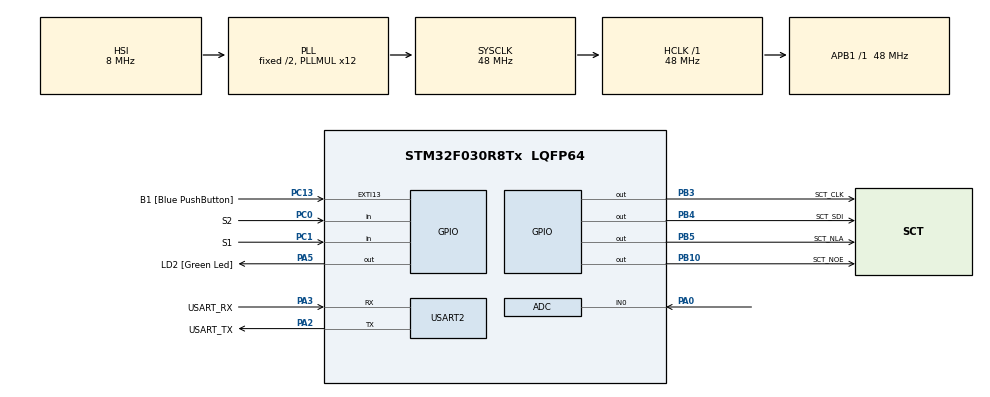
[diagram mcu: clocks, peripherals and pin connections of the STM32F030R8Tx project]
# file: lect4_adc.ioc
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ADC.ContinuousConvMode=ENABLE
ADC.Overrun=ADC_OVR_DATA_OVERWRITTEN
ADC.SamplingTime=ADC_SAMPLETIME_239CYCLES_5
Mcu.Family=STM32F0
Mcu.Name=STM32F030R8Tx
Mcu.Package=LQFP64
NVIC.ADC1_IRQn=true\:0\:0\:false\:false\:true\:true\:true\:true
PA0.Mode=IN0
PA0.Signal=ADC_IN0
PA13.GPIO_Label=TMS
PA13.Mode=Serial_Wire
PA13.Signal=SYS_SWDIO
PA14.GPIO_Label=TCK
PA14.Mode=Serial_Wire
PA14.Signal=SYS_SWCLK
PA2.GPIO_Label=USART_TX
PA2.GPIO_Mode=GPIO_MODE_AF_PP
PA2.GPIO_PuPd=GPIO_NOPULL
PA2.GPIO_Speed=GPIO_SPEED_FREQ_LOW
PA2.Mode=Asynchronous
PA2.Signal=USART2_TX
PA3.GPIO_Label=USART_RX
PA3.GPIO_Mode=GPIO_MODE_AF_PP
PA3.GPIO_PuPd=GPIO_NOPULL
PA3.GPIO_Speed=GPIO_SPEED_FREQ_LOW
PA3.Mode=Asynchronous
PA3.Signal=USART2_RX
PA5.GPIO_Label=LD2 [Green Led]
PA5.GPIO_Mode=GPIO_MODE_OUTPUT_PP
PA5.GPIO_PuPd=GPIO_NOPULL
PA5.GPIO_Speed=GPIO_SPEED_FREQ_LOW
PA5.Signal=GPIO_Output
PB10.GPIO_Label=SCT_NOE
PB10.Signal=GPIO_Output
PB3.GPIO_Label=SCT_CLK
PB3.Signal=GPIO_Output
PB4.GPIO_Label=SCT_SDI
PB4.Signal=GPIO_Output
PB5.GPIO_Label=SCT_NLA
PB5.Signal=GPIO_Output
PC0.GPIO_Label=S2
PC0.GPIO_PuPd=GPIO_PULLUP
PC0.Signal=GPIO_Input
PC1.GPIO_Label=S1
PC1.GPIO_PuPd=GPIO_PULLUP
PC1.Signal=GPIO_Input
PC13.GPIO_Label=B1 [Blue PushButton]
PC13.GPIO_ModeDefaultEXTI=GPIO_MODE_IT_FALLING
PC13.Signal=GPXTI13
PC14-OSC32_IN.Mode=LSE-External-Oscillator
PC14-OSC32_IN.Signal=RCC_OSC32_IN
PC15-OSC32_OUT.Mode=LSE-External-Oscillator
PC15-OSC32_OUT.Signal=RCC_OSC32_OUT
PF0-OSC_IN.Mode=HSE-External-Clock-Source
PF0-OSC_IN.Signal=RCC_OSC_IN
PF1-OSC_OUT.Signal=RCC_OSC_OUT
ProjectManager.HeapSize=0x200
ProjectManager.StackSize=0x400
ProjectManager.TargetToolchain=STM32CubeIDE
RCC.AHBFreq_Value=48000000
RCC.APB1Freq_Value=48000000
RCC.APB1TimFreq_Value=48000000
RCC.HCLKFreq_Value=48000000
RCC.PLLMUL=RCC_PLL_MUL12
RCC.SYSCLKFreq_VALUE=48000000
RCC.SYSCLKSource=RCC_SYSCLKSOURCE_PLLCLK
USART2.VirtualMode-Asynchronous=VM_ASYNC
VP_ADC_TempSens_Input.Mode=IN-TempSens
VP_ADC_Vref_Input.Mode=IN-Vrefint
board=NUCLEO-F030R8

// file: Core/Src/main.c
/* USER CODE BEGIN Header */
/**
 ******************************************************************************
 * @file           : main.c
 * @brief          : Main program body
 ******************************************************************************
 * @attention
 *
 * Copyright (c) 2024 STMicroelectronics.
 * All rights reserved.
 *
 * This software is licensed under terms that can be found in the LICENSE file
 * in the root directory of this software component.
 * If no LICENSE file comes with this software, it is provided AS-IS.
 *
 ******************************************************************************
 */
/* USER CODE END Header */
#include "main.h"

/* USER CODE BEGIN Includes */
#include "sct.h"
/* USER CODE END Includes */

/* USER CODE BEGIN PTD */
#define DELAY 1000 // delay 1 s na vychozi stav
/* USER CODE END PTD */

/* USER CODE BEGIN PD */
#define ADC_Q (12)

/* Temperature sensor calibration value address */
#define TEMP110_CAL_ADDR ((uint16_t*) ((uint32_t) 0x1FFFF7C2))
#define TEMP30_CAL_ADDR ((uint16_t*) ((uint32_t) 0x1FFFF7B8))
/* Internal voltage reference calibration value address */
#define VREFINT_CAL_ADDR ((uint16_t*) ((uint32_t) 0x1FFFF7BA))
/* USER CODE END PD */

ADC_HandleTypeDef hadc;

UART_HandleTypeDef huart2;

/* USER CODE BEGIN PV */
#define apply_Q(x) ((x)>6)

static volatile uint32_t raw_pot = 0;
static volatile uint32_t value_avg = 0;
static volatile uint32_t voltage = 0;
static volatile uint32_t temperature = 0;
static enum { SHOW_POT, SHOW_VOLT, SHOW_TEMP } state = SHOW_TEMP;

/* USER CODE END PV */

void SystemClock_Config(void);
static void MX_GPIO_Init(void);
static void MX_USART2_UART_Init(void);
static void MX_ADC_Init(void);

/* USER CODE BEGIN 0 */
static volatile uint32_t raw_temp = 0;
static volatile  uint32_t raw_volt = 0;
static volatile uint32_t avg_pot = 0;
void HAL_ADC_ConvCpltCallback(ADC_HandleTypeDef* hadc){

	static uint8_t channel = 0;
	//raw_pot = HAL_ADC_GetValue(hadc);
	if ( channel == 0){
		raw_pot = avg_pot >> ADC_Q;
		avg_pot -= raw_pot;
		avg_pot += HAL_ADC_GetValue(hadc);
	}
	if ( channel == 1){
		raw_temp = HAL_ADC_GetValue(hadc);

	}
	if ( channel == 2){
		raw_volt = HAL_ADC_GetValue(hadc);

	}

	if (__HAL_ADC_GET_FLAG(hadc, ADC_FLAG_EOS)) channel = 0;
	else channel++;

}

/* USER CODE END 0 */

int main(void)
{

	/* MCU Configuration--------------------------------------------------------*/

	/* Reset of all peripherals, Initializes the Flash interface and the Systick. */
	HAL_Init();

	/* USER CODE BEGIN Init */
	//  sct_init();
	/* USER CODE END Init */

	/* Configure the system clock */
	SystemClock_Config();

	/* Initialize all configured peripherals */
	MX_GPIO_Init();
	MX_USART2_UART_Init();
	MX_ADC_Init();
	/* USER CODE BEGIN 2 */
	HAL_ADCEx_Calibration_Start(&hadc);
	HAL_ADC_Start_IT(&hadc);

	sct_init();
	/* USER CODE END 2 */

	/* Infinite loop */
	/* USER CODE BEGIN WHILE */
	while (1)
	{

		// printf("Hodnota=%u", apply_Q(value_avg));

		uint8_t s1 = HAL_GPIO_ReadPin(S1_GPIO_Port, S1_Pin);
		uint8_t s2 = HAL_GPIO_ReadPin(S2_GPIO_Port, S2_Pin);
		static uint32_t time;

		if(s1 == 0){
			state = SHOW_TEMP;
			time = HAL_GetTick();
		}
		if(s2 == 0){
			state = SHOW_VOLT;
			time = HAL_GetTick();
		}
		if(HAL_GetTick() > (time + DELAY)){
			state = SHOW_POT;
		}

		//state = SHOW_POT;

		if (state == SHOW_POT){
			sct_value(raw_pot*500.9/4095,raw_pot*9/4095 );
		}
		if (state == SHOW_VOLT){
			voltage = 330 * (*VREFINT_CAL_ADDR) / raw_volt;
			sct_value(voltage,2 );
		}
		if (state == SHOW_TEMP){
			int32_t temperature = (raw_temp - (int32_t)(*TEMP30_CAL_ADDR));
			temperature = temperature * (int32_t)(110 - 30);
			temperature = temperature / (int32_t)(*TEMP110_CAL_ADDR - *TEMP30_CAL_ADDR);
			temperature = temperature + 30;
			sct_value(temperature,3 );
		}
		HAL_Delay(50);
		/* USER CODE END WHILE */

	}
}

void SystemClock_Config(void)
{
	RCC_OscInitTypeDef RCC_OscInitStruct = {0};
	RCC_ClkInitTypeDef RCC_ClkInitStruct = {0};

	/** Initializes the RCC Oscillators according to the specified parameters
	 * in the RCC_OscInitTypeDef structure.
	 */
	RCC_OscInitStruct.OscillatorType = RCC_OSCILLATORTYPE_HSI|RCC_OSCILLATORTYPE_HSI14;
	RCC_OscInitStruct.HSIState = RCC_HSI_ON;
	RCC_OscInitStruct.HSI14State = RCC_HSI14_ON;
	RCC_OscInitStruct.HSICalibrationValue = RCC_HSICALIBRATION_DEFAULT;
	RCC_OscInitStruct.HSI14CalibrationValue = 16;
	RCC_OscInitStruct.PLL.PLLState = RCC_PLL_ON;
	RCC_OscInitStruct.PLL.PLLSource = RCC_PLLSOURCE_HSI;
	RCC_OscInitStruct.PLL.PLLMUL = RCC_PLL_MUL12;
	RCC_OscInitStruct.PLL.PREDIV = RCC_PREDIV_DIV1;
	if (HAL_RCC_OscConfig(&RCC_OscInitStruct) != HAL_OK)
	{
		Error_Handler();
	}

	/** Initializes the CPU, AHB and APB buses clocks
	 */
	RCC_ClkInitStruct.ClockType = RCC_CLOCKTYPE_HCLK|RCC_CLOCKTYPE_SYSCLK
			|RCC_CLOCKTYPE_PCLK1;
	RCC_ClkInitStruct.SYSCLKSource = RCC_SYSCLKSOURCE_PLLCLK;
	RCC_ClkInitStruct.AHBCLKDivider = RCC_SYSCLK_DIV1;
	RCC_ClkInitStruct.APB1CLKDivider = RCC_HCLK_DIV1;

	if (HAL_RCC_ClockConfig(&RCC_ClkInitStruct, FLASH_LATENCY_1) != HAL_OK)
	{
		Error_Handler();
	}
}

static void MX_ADC_Init(void)
{

	ADC_ChannelConfTypeDef sConfig = {0};

	/** Configure the global features of the ADC (Clock, Resolution, Data Alignment and number of conversion)
	 */
	hadc.Instance = ADC1;
	hadc.Init.ClockPrescaler = ADC_CLOCK_ASYNC_DIV1;
	hadc.Init.Resolution = ADC_RESOLUTION_12B;
	hadc.Init.DataAlign = ADC_DATAALIGN_RIGHT;
	hadc.Init.ScanConvMode = ADC_SCAN_DIRECTION_FORWARD;
	hadc.Init.EOCSelection = ADC_EOC_SINGLE_CONV;
	hadc.Init.LowPowerAutoWait = DISABLE;
	hadc.Init.LowPowerAutoPowerOff = DISABLE;
	hadc.Init.ContinuousConvMode = ENABLE;
	hadc.Init.DiscontinuousConvMode = DISABLE;
	hadc.Init.ExternalTrigConv = ADC_SOFTWARE_START;
	hadc.Init.ExternalTrigConvEdge = ADC_EXTERNALTRIGCONVEDGE_NONE;
	hadc.Init.DMAContinuousRequests = DISABLE;
	hadc.Init.Overrun = ADC_OVR_DATA_OVERWRITTEN;
	if (HAL_ADC_Init(&hadc) != HAL_OK)
	{
		Error_Handler();
	}

	/** Configure for the selected ADC regular channel to be converted.
	 */
	sConfig.Channel = ADC_CHANNEL_0;
	sConfig.Rank = ADC_RANK_CHANNEL_NUMBER;
	sConfig.SamplingTime = ADC_SAMPLETIME_239CYCLES_5;
	if (HAL_ADC_ConfigChannel(&hadc, &sConfig) != HAL_OK)
	{
		Error_Handler();
	}

	/** Configure for the selected ADC regular channel to be converted.
	 */
	sConfig.Channel = ADC_CHANNEL_TEMPSENSOR;
	if (HAL_ADC_ConfigChannel(&hadc, &sConfig) != HAL_OK)
	{
		Error_Handler();
	}

	/** Configure for the selected ADC regular channel to be converted.
	 */
	sConfig.Channel = ADC_CHANNEL_VREFINT;
	if (HAL_ADC_ConfigChannel(&hadc, &sConfig) != HAL_OK)
	{
		Error_Handler();
	}

}

static void MX_USART2_UART_Init(void)
{

	huart2.Instance = USART2;
	huart2.Init.BaudRate = 38400;
	huart2.Init.WordLength = UART_WORDLENGTH_8B;
	huart2.Init.StopBits = UART_STOPBITS_1;
	huart2.Init.Parity = UART_PARITY_NONE;
	huart2.Init.Mode = UART_MODE_TX_RX;
	huart2.Init.HwFlowCtl = UART_HWCONTROL_NONE;
	huart2.Init.OverSampling = UART_OVERSAMPLING_16;
	huart2.Init.OneBitSampling = UART_ONE_BIT_SAMPLE_DISABLE;
	huart2.AdvancedInit.AdvFeatureInit = UART_ADVFEATURE_NO_INIT;
	if (HAL_UART_Init(&huart2) != HAL_OK)
	{
		Error_Handler();
	}

}

static void MX_GPIO_Init(void)
{
	GPIO_InitTypeDef GPIO_InitStruct = {0};

	/* GPIO Ports Clock Enable */
	__HAL_RCC_GPIOC_CLK_ENABLE();
	__HAL_RCC_GPIOF_CLK_ENABLE();
	__HAL_RCC_GPIOA_CLK_ENABLE();
	__HAL_RCC_GPIOB_CLK_ENABLE();

	/*Configure GPIO pin Output Level */
	HAL_GPIO_WritePin(LD2_GPIO_Port, LD2_Pin, GPIO_PIN_RESET);

	/*Configure GPIO pin Output Level */
	HAL_GPIO_WritePin(GPIOB, SCT_NOE_Pin|SCT_CLK_Pin|SCT_SDI_Pin|SCT_NLA_Pin, GPIO_PIN_RESET);

	/*Configure GPIO pin : B1_Pin */
	GPIO_InitStruct.Pin = B1_Pin;
	GPIO_InitStruct.Mode = GPIO_MODE_IT_FALLING;
	GPIO_InitStruct.Pull = GPIO_NOPULL;
	HAL_GPIO_Init(B1_GPIO_Port, &GPIO_InitStruct);

	/*Configure GPIO pins : S2_Pin S1_Pin */
	GPIO_InitStruct.Pin = S2_Pin|S1_Pin;
	GPIO_InitStruct.Mode = GPIO_MODE_INPUT;
	GPIO_InitStruct.Pull = GPIO_PULLUP;
	HAL_GPIO_Init(GPIOC, &GPIO_InitStruct);

	/*Configure GPIO pin : LD2_Pin */
	GPIO_InitStruct.Pin = LD2_Pin;
	GPIO_InitStruct.Mode = GPIO_MODE_OUTPUT_PP;
	GPIO_InitStruct.Pull = GPIO_NOPULL;
	GPIO_InitStruct.Speed = GPIO_SPEED_FREQ_LOW;
	HAL_GPIO_Init(LD2_GPIO_Port, &GPIO_InitStruct);

	/*Configure GPIO pins : SCT_NOE_Pin SCT_CLK_Pin SCT_SDI_Pin SCT_NLA_Pin */
	GPIO_InitStruct.Pin = SCT_NOE_Pin|SCT_CLK_Pin|SCT_SDI_Pin|SCT_NLA_Pin;
	GPIO_InitStruct.Mode = GPIO_MODE_OUTPUT_PP;
	GPIO_InitStruct.Pull = GPIO_NOPULL;
	GPIO_InitStruct.Speed = GPIO_SPEED_FREQ_LOW;
	HAL_GPIO_Init(GPIOB, &GPIO_InitStruct);

}

void Error_Handler(void)
{
	__disable_irq();
	while (1)
	{
	}
}
